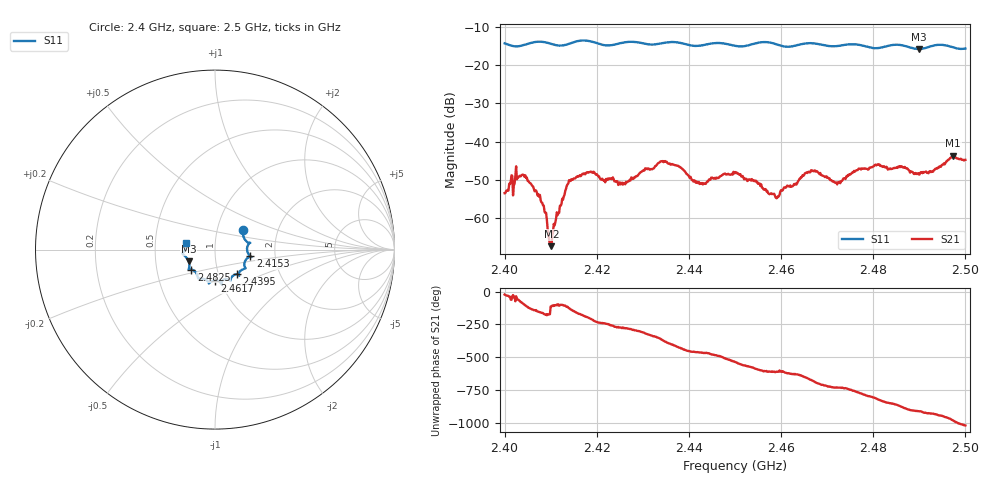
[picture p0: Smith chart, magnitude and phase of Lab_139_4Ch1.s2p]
# Hz S RI R 50
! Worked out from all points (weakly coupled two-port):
!   601 points, 2.4 GHz to 2.5 GHz, reference 50 ohm
!   highest |S21| = -43.72 dB at 2.4973 GHz (marker M1); lowest = -67.3 dB at 2.4102 GHz (marker M2)
!   lowest |S11| = -15.9 dB at 2.4898 GHz (marker M3), VSWR 1.38, Z = 36.9 - j4.91 ohm
!   |S11| at or under -10 dB: start of sweep to end of sweep
!   S12 and S22 are empty: the file has one direction only
!   S11 on the Smith chart (normalised r, x): 2.4 GHz: 1.33, +0.30; 2.4153 GHz: 1.48, -0.12; 2.4395 GHz: 1.23, -0.35; 2.4617 GHz: 0.94, -0.34; 2.4825 GHz: 0.75, -0.17; 2.5 GHz: 0.72, +0.05
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2.4e9  0.1566 0.1093  0.00196 -0.000821  0 0  0 0
2.404333e9  0.1772 0.0442  -0.000642 -0.0034  0 0  0 0
2.408e9  0.1964 0.0385  -0.00154 -0.00049  0 0  0 0
2.409667e9  0.1886 0.0323  -0.000511 -4.95e-05  0 0  0 0
2.410167e9  0.1855 0.0278  -0.000159 -0.000402  0 0  0 0
2.413667e9  0.1844 -0.0208  -0.00121 -0.00249  0 0  0 0
2.415333e9  0.1967 -0.0372  -0.00301 -0.00136  0 0  0 0
2.416667e9  0.2035 -0.0418  -0.00361 -0.000149  0 0  0 0
2.425667e9  0.1677 -0.0995  0.000187 0.00274  0 0  0 0
2.433333e9  0.1327 -0.1329  0.00518 0.000652  0 0  0 0
2.4395e9  0.1229 -0.1377  -4.32e-05 -0.00377  0 0  0 0
2.443167e9  0.0902 -0.1572  -0.000907 -0.0027  0 0  0 0
2.45e9  0.0667 -0.1643  -0.004 -0.000189  0 0  0 0
2.459e9  0.032 -0.1826  -0.000549 0.00174  0 0  0 0
2.461667e9  0.000563 -0.1723  -0.00026 0.00261  0 0  0 0
2.466667e9  -0.034 -0.1887  0.00304 0.00279  0 0  0 0
2.472333e9  -0.0714 -0.1612  0.00286 -0.000649  0 0  0 0
2.4825e9  -0.1322 -0.1111  -0.00249 -0.00389  0 0  0 0
2.483333e9  -0.1395 -0.1102  -0.00277 -0.0034  0 0  0 0
2.489833e9  -0.1473 -0.0649  -0.00378 0.000842  0 0  0 0
2.497333e9  -0.169 -0.00637  -0.000699 0.00648  0 0  0 0
2.5e9  -0.1597 0.0346  0.00303 0.00491  0 0  0 0
